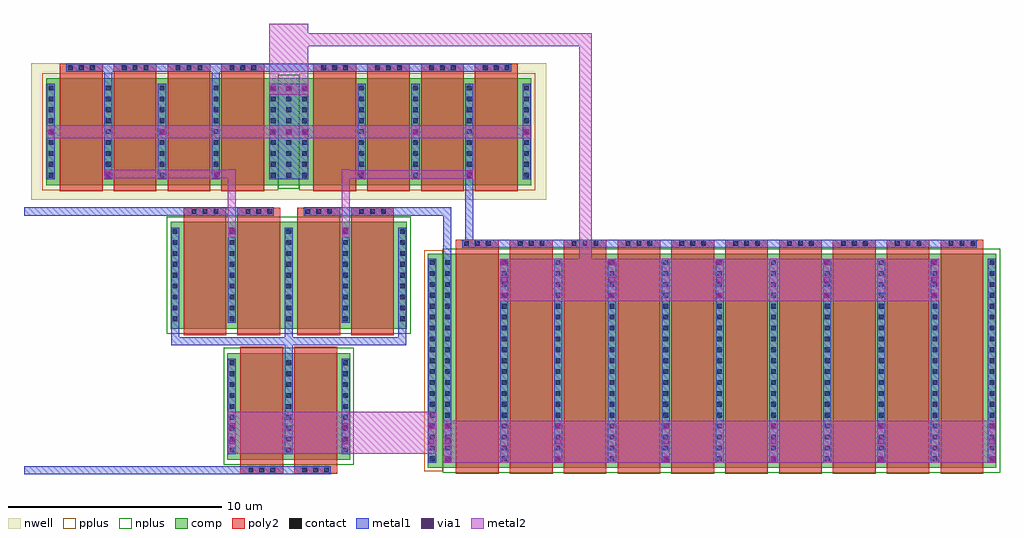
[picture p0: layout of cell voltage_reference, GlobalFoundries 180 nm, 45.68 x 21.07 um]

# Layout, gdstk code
from math import pi, radians
import gdstk
lib = gdstk.Library(unit=1e-6, precision=5e-09)
def R(c, l, rs):  # rectangles x0, y0, x1, y1
    for r in rs: c.add(gdstk.rectangle(r[:2], r[2:], *l))
def A(c, l, x, y, w, h, nx, ny, dx, dy):  # array of equal rectangles
    R(c, l, [(x+i*dx, y+j*dy, x+i*dx+w, y+j*dy+h) for i in range(nx) for j in range(ny)])
nwell = (21, 0)
comp = (22, 0)
poly2 = (30, 0)
pplus = (31, 0)
nplus = (32, 0)
contact = (33, 0)
metal1 = (34, 0)
via1 = (35, 0)
metal2 = (36, 0)

nfet = lib.new_cell('nfet')
R(nfet, comp, [(-0.42,0,0,5), (0,0,4.9,5), (4.9,0,5.32,5)])
R(nfet, poly2, [(0.19,-0.3,2.19,5.3), (2.71,-0.3,4.71,5.3), (0.19,5.3,2.19,5.66), (2.71,5.3,4.71,5.66)])
R(nfet, nplus, [(-0.59,-0.24,5.49,5.24)])
A(nfet, contact, -0.32, 0.35, 0.22, 0.22, 3, 9, 2.66, 0.51)
A(nfet, contact, 0.57, 5.37, 0.22, 0.22, 3, 1, 0.51, 0)
A(nfet, contact, 3.09, 5.37, 0.22, 0.22, 3, 1, 0.51, 0)
A(nfet, metal1, -0.4, 0.27, 0.38, 4.46, 3, 1, 2.66, 0)
R(nfet, metal1, [(0.49,5.29,1.89,5.67), (3.01,5.29,4.41,5.67)])

pfet = lib.new_cell('pfet')
R(pfet, nwell, [(-1.15,-0.69,11.82,5.69)])
R(pfet, comp, [(-0.46,0,0,5), (0,0,9.94,5), (9.94,0,10.4,5), (10.4,0,11.13,5)])
A(pfet, poly2, 0.19, -0.3, 2, 5.6, 4, 1, 2.52, 0)
A(pfet, poly2, 0.19, 5.3, 2, 0.38, 4, 1, 2.52, 0)
R(pfet, pplus, [(-0.63,-0.24,10.4,5.24)])
R(pfet, nplus, [(10.4,-0.17,11.3,5.17)])
A(pfet, contact, -0.34, 0.35, 0.22, 0.22, 1, 9, 0, 0.51)
A(pfet, contact, 2.34, 0.35, 0.22, 0.22, 3, 9, 2.52, 0.51)
A(pfet, contact, 10.06, 0.35, 0.22, 0.22, 1, 9, 0, 0.51)
A(pfet, contact, 10.79, 0.35, 0.22, 0.22, 1, 9, 0, 0.51)
A(pfet, contact, 0.57, 5.38, 0.22, 0.22, 3, 1, 0.51, 0)
A(pfet, contact, 3.09, 5.38, 0.22, 0.22, 3, 1, 0.51, 0)
A(pfet, contact, 5.61, 5.38, 0.22, 0.22, 3, 1, 0.51, 0)
A(pfet, contact, 8.13, 5.38, 0.22, 0.22, 3, 1, 0.51, 0)
A(pfet, metal1, 2.26, 0.27, 0.38, 4.46, 3, 1, 2.52, 0)
A(pfet, metal1, 0.49, 5.3, 1.4, 0.38, 4, 1, 2.52, 0)
R(pfet, metal1, [(-0.42,0.27,-0.04,4.73), (9.98,0.27,10.36,4.73), (10.71,0.27,11.09,4.73)])

pfet_1 = lib.new_cell('pfet$1')
R(pfet_1, nwell, [(-1.15,-0.69,11.82,5.69)])
R(pfet_1, comp, [(-0.46,0,0,5), (0,0,9.94,5), (9.94,0,10.4,5), (10.4,0,11.13,5)])
A(pfet_1, poly2, 0.19, -0.68, 2, 0.38, 4, 1, 2.52, 0)
A(pfet_1, poly2, 0.19, -0.3, 2, 5.6, 4, 1, 2.52, 0)
R(pfet_1, pplus, [(-0.63,-0.24,10.4,5.24)])
R(pfet_1, nplus, [(10.4,-0.17,11.3,5.17)])
A(pfet_1, contact, 0.57, -0.6, 0.22, 0.22, 3, 1, 0.51, 0)
A(pfet_1, contact, 3.09, -0.6, 0.22, 0.22, 3, 1, 0.51, 0)
A(pfet_1, contact, 5.61, -0.6, 0.22, 0.22, 3, 1, 0.51, 0)
A(pfet_1, contact, 8.13, -0.6, 0.22, 0.22, 3, 1, 0.51, 0)
A(pfet_1, contact, -0.34, 0.35, 0.22, 0.22, 1, 9, 0, 0.51)
A(pfet_1, contact, 2.34, 0.35, 0.22, 0.22, 3, 9, 2.52, 0.51)
A(pfet_1, contact, 10.06, 0.35, 0.22, 0.22, 1, 9, 0, 0.51)
A(pfet_1, contact, 10.79, 0.35, 0.22, 0.22, 1, 9, 0, 0.51)
A(pfet_1, metal1, 0.49, -0.68, 1.4, 0.38, 4, 1, 2.52, 0)
A(pfet_1, metal1, 2.26, 0.27, 0.38, 4.46, 3, 1, 2.52, 0)
R(pfet_1, metal1, [(-0.42,0.27,-0.04,4.73), (9.98,0.27,10.36,4.73), (10.71,0.27,11.09,4.73)])

nfet_2 = lib.new_cell('nfet$2')
R(nfet_2, comp, [(-0.42,0,0,10), (0,0,25.06,10), (25.06,0,25.48,10), (25.48,0,26.19,10)])
A(nfet_2, poly2, 0.19, -0.66, 2, 0.36, 10, 1, 2.52, 0)
A(nfet_2, poly2, 0.19, -0.3, 2, 10.6, 10, 1, 2.52, 0)
R(nfet_2, pplus, [(25.48,-0.17,26.36,10.17)])
R(nfet_2, nplus, [(-0.59,-0.24,25.48,10.24)])
A(nfet_2, contact, 0.57, -0.59, 0.22, 0.22, 3, 1, 0.51, 0)
A(nfet_2, contact, 3.09, -0.59, 0.22, 0.22, 3, 1, 0.51, 0)
A(nfet_2, contact, 5.61, -0.59, 0.22, 0.22, 3, 1, 0.51, 0)
A(nfet_2, contact, 8.13, -0.59, 0.22, 0.22, 3, 1, 0.51, 0)
A(nfet_2, contact, 10.65, -0.59, 0.22, 0.22, 3, 1, 0.51, 0)
A(nfet_2, contact, 13.17, -0.59, 0.22, 0.22, 3, 1, 0.51, 0)
A(nfet_2, contact, 15.69, -0.59, 0.22, 0.22, 3, 1, 0.51, 0)
A(nfet_2, contact, 18.21, -0.59, 0.22, 0.22, 3, 1, 0.51, 0)
A(nfet_2, contact, 20.73, -0.59, 0.22, 0.22, 3, 1, 0.51, 0)
A(nfet_2, contact, 23.25, -0.59, 0.22, 0.22, 3, 1, 0.51, 0)
A(nfet_2, contact, -0.32, 0.3, 0.22, 0.22, 1, 19, 0, 0.51)
A(nfet_2, contact, 2.34, 0.3, 0.22, 0.22, 9, 19, 2.52, 0.51)
A(nfet_2, contact, 25.16, 0.3, 0.22, 0.22, 1, 19, 0, 0.51)
A(nfet_2, contact, 25.87, 0.3, 0.22, 0.22, 1, 19, 0, 0.51)
A(nfet_2, metal1, 0.49, -0.67, 1.4, 0.38, 10, 1, 2.52, 0)
A(nfet_2, metal1, 2.26, 0.22, 0.38, 9.56, 9, 1, 2.52, 0)
R(nfet_2, metal1, [(-0.4,0.22,-0.02,9.78), (25.08,0.22,25.46,9.78), (25.79,0.22,26.17,9.78)])

nfet_1 = lib.new_cell('nfet$1')
R(nfet_1, comp, [(-0.42,0,0,5), (0,0,4.9,5), (4.9,0,5.32,5)])
R(nfet_1, poly2, [(0.19,-0.66,2.19,-0.3), (2.71,-0.66,4.71,-0.3), (0.19,-0.3,2.19,5.3), (2.71,-0.3,4.71,5.3)])
R(nfet_1, nplus, [(-0.59,-0.24,5.49,5.24)])
A(nfet_1, contact, 0.57, -0.59, 0.22, 0.22, 3, 1, 0.51, 0)
A(nfet_1, contact, 3.09, -0.59, 0.22, 0.22, 3, 1, 0.51, 0)
A(nfet_1, contact, -0.32, 0.35, 0.22, 0.22, 3, 9, 2.66, 0.51)
A(nfet_1, metal1, -0.4, 0.27, 0.38, 4.46, 3, 1, 2.66, 0)
R(nfet_1, metal1, [(0.49,-0.67,1.89,-0.29), (3.01,-0.67,4.41,-0.29)])

voltage_reference = lib.new_cell('voltage_reference')
R(voltage_reference, metal1, [(5.275,0.18,9.195,0.56), (15.36,10.78,39.44,11.16), (2.615,12.28,6.535,12.66), (7.935,12.28,11.855,12.66), (6.315,13.98,8.155,18.44), (-3.175,19.01,17.645,19.39)])
R(voltage_reference, via1, [(14.53,0.77,14.79,1.03), (19.705,0.77,19.965,1.03), (24.75,0.77,25.01,1.03), (29.785,0.77,30.045,1.03), (34.83,0.77,35.09,1.03), (40.01,0.77,40.27,1.03), (4.445,1.57,4.705,1.83), (9.765,1.57,10.025,1.83), (13.785,1.57,14.045,1.83), (14.53,1.57,14.79,1.83), (19.705,1.57,19.965,1.83), (24.75,1.57,25.01,1.83), (29.785,1.57,30.045,1.83), (34.83,1.57,35.09,1.83), (40.01,1.57,40.27,1.83), (4.445,2.3,4.705,2.56), (9.765,2.3,10.025,2.56), (13.785,2.3,14.045,2.56), (14.53,2.3,14.79,2.56), (19.705,2.3,19.965,2.56), (24.75,2.3,25.01,2.56), (29.785,2.3,30.045,2.56), (34.83,2.3,35.09,2.56), (40.01,2.3,40.27,2.56), (17.19,8.42,17.45,8.68), (22.22,8.42,22.48,8.68), (27.255,8.42,27.515,8.68), (32.3,8.42,32.56,8.68), (37.335,8.42,37.595,8.68), (17.19,9.16,17.45,9.42), (22.22,9.16,22.48,9.42), (27.255,9.16,27.515,9.42), (32.3,9.16,32.56,9.42), (37.335,9.16,37.595,9.42), (17.19,9.95,17.45,10.21), (22.22,9.95,22.48,10.21), (27.255,9.95,27.515,10.21), (32.3,9.95,32.56,10.21), (37.335,9.95,37.595,10.21), (4.445,11.4,4.705,11.66), (9.77,11.4,10.03,11.66), (-1.35,14.105,-1.09,14.365), (3.715,14.105,3.975,14.365), (10.515,14.115,10.775,14.375), (15.58,14.115,15.84,14.375), (-4.03,16.055,-3.77,16.315), (1.175,16.055,1.435,16.315), (6.375,16.055,6.635,16.315), (7.105,16.055,7.365,16.315), (7.84,16.055,8.1,16.315), (13.035,16.055,13.295,16.315), (18.24,16.055,18.5,16.315), (6.375,18.105,6.635,18.365), (7.105,18.105,7.365,18.365), (7.84,18.105,8.1,18.365)])
R(voltage_reference, metal2, [(14.47,0.71,40.33,2.685), (4.365,1.145,14.14,3.09), (17.13,8.28,37.67,10.27), (4.385,11.25,4.765,14.455), (9.705,11.25,10.085,14.455), (6.315,17.94,8.155,21.255)])
voltage_reference.add(gdstk.FlexPath([(1.915,7.26),(1.915,6.395),(12.555,6.395),(12.555,7.26)], 0.38, ends="flush", simple_path=True, layer=34, datatype=0))  # metal1
voltage_reference.add(gdstk.FlexPath([(7.235,7.26),(7.235,6.585)], 0.38, ends="flush", simple_path=True, layer=34, datatype=0))  # metal1
voltage_reference.add(gdstk.FlexPath([(7.235,5.58),(7.235,6.205)], 0.38, ends="flush", simple_path=True, layer=34, datatype=0))  # metal1
voltage_reference.add(gdstk.FlexPath([(-1.215,18.44),(-1.215,19.01)], 0.38, ends="flush", simple_path=True, layer=34, datatype=0))  # metal1
voltage_reference.add(gdstk.FlexPath([(3.825,18.44),(3.825,19.01)], 0.38, ends="flush", simple_path=True, layer=34, datatype=0))  # metal1
voltage_reference.add(gdstk.FlexPath([(15.685,13.98),(15.685,11.16)], 0.38, ends="flush", simple_path=True, layer=34, datatype=0))  # metal1
voltage_reference.add(gdstk.FlexPath([(11.855,12.47),(14.66,12.47),(14.66,10.27)], 0.38, ends="flush", simple_path=True, layer=34, datatype=0))  # metal1
voltage_reference.add(gdstk.FlexPath([(5.275,0.37),(-5.15,0.37)], 0.38, ends="flush", simple_path=True, layer=34, datatype=0))  # metal1
voltage_reference.add(gdstk.FlexPath([(2.615,12.47),(-5.155,12.47)], 0.38, ends="flush", simple_path=True, layer=34, datatype=0))  # metal1
voltage_reference.add(gdstk.FlexPath([(4.385,14.235),(-1.405,14.235)], 0.4, ends="flush", simple_path=True, layer=36, datatype=0))  # metal2
voltage_reference.add(gdstk.FlexPath([(10.085,14.21),(15.875,14.21)], 0.4, ends="flush", simple_path=True, layer=36, datatype=0))  # metal2
voltage_reference.add(gdstk.FlexPath([(-4.085,16.21),(18.555,16.21)], 0.6, ends="flush", simple_path=True, layer=36, datatype=0))  # metal2
voltage_reference.add(gdstk.FlexPath([(21.125,10.27),(21.125,20.505),(8.155,20.505)], 0.6, ends="flush", simple_path=True, layer=36, datatype=0))  # metal2
voltage_reference.add(gdstk.Reference(nfet, (2.125,6.99)))
voltage_reference.add(gdstk.Reference(nfet, (7.445,6.99)))
voltage_reference.add(gdstk.Reference(pfet, (-3.665,13.71)))
voltage_reference.add(gdstk.Reference(pfet_1, (18.135,18.71), rotation=pi))
voltage_reference.add(gdstk.Reference(nfet_2, (39.93,10.49), rotation=pi))
voltage_reference.add(gdstk.Reference(nfet_1, (4.785,0.85)))

lib.write_gds('voltage_reference.gds')
